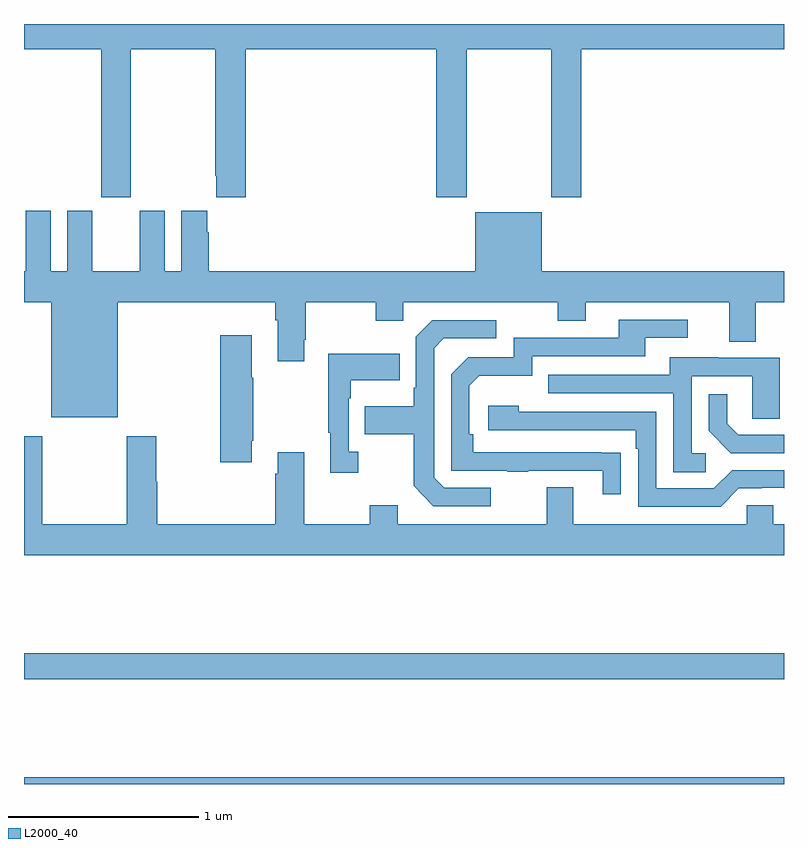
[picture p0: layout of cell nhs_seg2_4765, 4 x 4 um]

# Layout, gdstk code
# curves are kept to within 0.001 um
import gdstk
lib = gdstk.Library(unit=1e-6, precision=1e-09)
def R(c, l, rs):  # rectangles x0, y0, x1, y1
    for r in rs: c.add(gdstk.rectangle(r[:2], r[2:], *l))
def P(c, l, *ps):  # polygons
    for p in ps: c.add(gdstk.Polygon(p, *l))
L2000_40 = (2000, 40)

nhs_seg2_4765 = lib.new_cell('nhs_seg2_4765')
R(nhs_seg2_4765, L2000_40, [(371,611.8,375,611.836), (371,612.352,375,612.488)])
P(nhs_seg2_4765, L2000_40, [(371.562,615.668),(372.007,615.668),(372.007,615.001),(372.011,615.001),(372.011,614.889),(372.167,614.889),(372.167,615.668),(373.169,615.668),(373.169,614.889),(373.329,614.889),(373.329,615.668),(373.774,615.668),(373.774,614.889),(373.934,614.889),(373.934,615.668),(375,615.668),(375,615.8),(371,615.8),(371,615.668),(371.407,615.668),(371.407,614.889),(371.562,614.889)],
  [(371.494,614.336),(372.323,614.336),(372.323,614.24),(372.335,614.24),(372.335,614.025),(372.475,614.025),(372.475,614.137),(372.483,614.137),(372.483,614.336),(372.85,614.336),(372.85,614.237),(372.996,614.237),(372.996,614.336),(373.81,614.336),(373.81,614.237),(373.957,614.237),(373.957,614.336),(374.711,614.336),(374.711,614.128),(374.851,614.128),(374.851,614.336),(375,614.336),(375,614.5),(373.726,614.5),(373.726,614.809),(373.376,614.809),(373.376,614.5),(371.972,614.5),(371.972,614.705),(371.965,614.705),(371.965,614.818),(371.828,614.818),(371.828,614.5),(371.74,614.5),(371.74,614.818),(371.609,614.818),(371.609,614.5),(371.359,614.5),(371.359,614.818),(371.228,614.818),(371.228,614.5),(371.14,614.5),(371.14,614.818),(371.009,614.818),(371.009,614.5),(371,614.5),(371,614.336),(371.144,614.336),(371.144,613.73),(371.494,613.73)],
  [(374.141,613.544),(373.364,613.545),(373.364,613.642),(373.344,613.642),(373.344,613.896),(373.397,613.949),(373.674,613.949),(373.674,614.052),(374.269,614.052),(374.269,614.148),(374.494,614.148),(374.494,614.244),(374.129,614.244),(374.129,614.148),(373.578,614.148),(373.578,614.046),(373.338,614.046),(373.248,613.956),(373.248,613.449),(373.543,613.449),(373.543,613.444),(373.655,613.444),(373.655,613.449),(374.045,613.449),(374.045,613.326),(374.141,613.326)],
  [(373.456,613.359),(373.212,613.359),(373.158,613.413),(373.158,614.094),(373.209,614.145),(373.486,614.145),(373.486,614.241),(373.149,614.241),(373.062,614.154),(373.062,613.885),(373.05,613.885),(373.05,613.789),(372.793,613.789),(372.793,613.642),(373.05,613.642),(373.05,613.369),(373.155,613.263),(373.456,613.263)],
  [(372.199,613.606),(372.207,613.606),(372.207,613.937),(372.199,613.937),(372.199,614.161),(372.032,614.161),(372.032,613.494),(372.199,613.494)],
  [(372.76,613.55),(372.708,613.55),(372.708,613.829),(372.721,613.829),(372.721,613.925),(372.977,613.925),(372.977,614.065),(372.6,614.065),(372.6,613.649),(372.611,613.649),(372.611,613.437),(372.76,613.437)],
  [(374.587,613.542),(374.514,613.542),(374.514,613.947),(374.832,613.947),(374.832,613.723),(374.977,613.723),(374.977,614.043),(374.653,614.043),(374.653,614.047),(374.399,614.047),(374.399,613.953),(373.759,613.953),(373.759,613.857),(374.418,613.857),(374.418,613.441),(374.587,613.441)],
  [(375,613.638),(374.758,613.638),(374.701,613.695),(374.701,613.852),(374.604,613.852),(374.604,613.658),(374.72,613.542),(375,613.542)],
  [(374.763,613.356),(374.882,613.356),(374.882,613.359),(374.997,613.359),(375,613.356),(375,613.452),(374.727,613.452),(374.631,613.356),(374.328,613.356),(374.328,613.758),(373.604,613.758),(373.604,613.792),(373.443,613.792),(373.443,613.662),(374.219,613.662),(374.219,613.565),(374.232,613.565),(374.232,613.26),(374.667,613.26)],
  [(375,613.168),(374.943,613.168),(374.943,613.266),(374.805,613.266),(374.805,613.168),(373.891,613.168),(373.891,613.363),(373.751,613.363),(373.751,613.168),(372.967,613.168),(372.967,613.267),(372.82,613.267),(372.82,613.168),(372.475,613.168),(372.475,613.546),(372.335,613.546),(372.335,613.433),(372.323,613.433),(372.323,613.168),(371.702,613.168),(371.702,613.391),(371.697,613.391),(371.697,613.63),(371.542,613.63),(371.542,613.168),(371.097,613.168),(371.097,613.63),(371,613.63),(371,613.004),(375,613.004)])

lib.write_gds('nhs_seg2_4765.gds')
